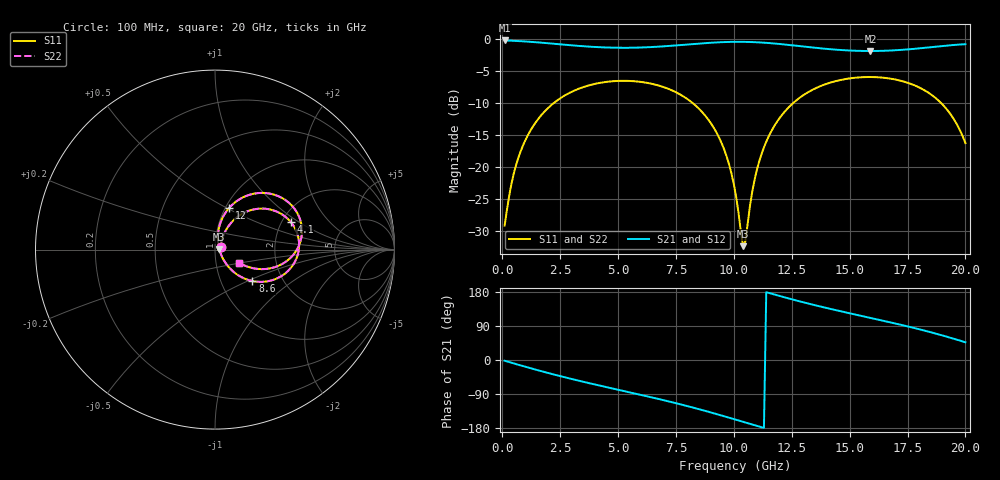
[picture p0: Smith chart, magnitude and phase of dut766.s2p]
! Touchstone file exported from HFSS 2026.1.0
!  File:  C:/ffzhzh/LocalFiles/Ansys_Project_Files/temp_train_TSV_RDL_766_1783208302_51560.aedt
!  Generated:  07:48:22 AM Jul  5, 2026
!  Design:  TSV_RDL
!  Project:  temp_train_TSV_RDL_766_1783208302_51560
! Variables:
!  h_bsmrdl = 2.07um
!  h_ox = 20um
!  h_rdl = 5um
!  h_sub = 98.83um
!  h_tmrdl = 4.47um
!  h_tsv = 98.83um
!  h_via = 3um
!  l_bsmrdl = 405.25um
!  l_sub = 4597.77um
!  l_tmrdl = 717.74um
!  m_sub = 200um
!  pitch = 44.09um
!  r_tsv = 14.56um
!  s_tmrdl = 10um
!  w_bsmrdl = 26.93um
!  w_sub = 500um
!  w_tmrdl = 10.09um
!  x_tsv_center1 = 722.785um
!  x_tsv_center2 = 1154.965um
!  x_tsv_center3 = 1882.795um
!  x_tsv_center4 = 2314.975um
!  x_tsv_center5 = 3042.805um
!  x_tsv_center6 = 3474.985um
# GHz S MA R 50.000000
! Terminal data exported
! Port[1] = TM_RDL1_1_T1
! Port[2] = TM_RDL5_1_T1
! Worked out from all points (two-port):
!   200 points, 100 MHz to 20 GHz, reference 50 ohm
!   highest |S21| = -0.27 dB at 100 MHz (marker M1); lowest = -1.9 dB at 15.9 GHz (marker M2)
!   |S21| within 3 dB of the highest: start of sweep to end of sweep
!   lowest |S11| = -32.3 dB at 10.4 GHz (marker M3), VSWR 1.05, Z = 52.5 + j0.144 ohm
!   |S11| at or under -10 dB: start of sweep to 2.232 GHz; 8.213 GHz to 12.57 GHz (4.358 GHz wide, 41.9 % of centre); 18.94 GHz to end of sweep
!   |S22| runs from -32.2 to -6.0 dB; largest |S21 - S12| = 1.7e-14
!   S11 on the Smith chart (normalised r, x): 100 MHz: 1.06, +0.03; 4.1 GHz: 2.22, +0.87; 8.6 GHz: 1.41, -0.53; 12 GHz: 1.04, +0.51; 20 GHz: 1.30, -0.20
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0.1  0.03493 27.9  0.9695 -1.9  0.9695 -1.9  0.03493 27.9
! Gamma 0 0 0 0
! Port Impedance 50 0 50 0
0.5  0.08954 59.1  0.9634 -9.1  0.9634 -9.1  0.08954 59.1
1.2  0.1903 58.0  0.9469 -21.3  0.9469 -21.3  0.1903 58.0
2.2  0.3129 45.8  0.9148 -37.9  0.9148 -37.9  0.3129 45.8
3.5  0.4199 28.2  0.8738 -57.5  0.8738 -57.5  0.4198 28.2
4.1  0.4487 20.3  0.8605 -66.1  0.8605 -66.1  0.4486 20.3
5.5  0.4689 2.2  0.8505 -85.3  0.8505 -85.3  0.4688 2.2
6.8  0.4292 -15.0  0.8685 -103.6  0.8685 -103.6  0.4292 -15.0
8.6  0.2719 -40.1  0.9197 -131.5  0.9197 -131.5  0.2719 -40.0
9.5  0.1493 -50.9  0.9406 -147.0  0.9406 -147.0  0.1493 -50.8
10.1  0.05842 -46.5  0.9463 -157.7  0.9463 -157.7  0.05852 -46.1
10.4  0.02417 3.3  0.9459 -163.1  0.9459 -163.1  0.02453 3.6
10.5  0.02645 38.8  0.9452 -164.9  0.9452 -164.9  0.02683 38.6
10.8  0.06511 76.0  0.9419 -170.4  0.9419 -170.4  0.06532 75.6
11.1  0.1114 79.8  0.9363 -175.7  0.9363 -175.7  0.1116 79.6
12  0.2441 71.4  0.9091 168.6  0.9091 168.6  0.2442 71.3
13.4  0.4002 52.0  0.8541 146.1  0.8541 146.1  0.4003 52.0
15.9  0.503 19.8  0.8022 111.1  0.8022 111.1  0.503 19.8
16.7  0.4906 9.8  0.8082 100.2  0.8082 100.2  0.4906 9.7
18.7  0.3467 -16.4  0.866 70.0  0.866 70.0  0.3467 -16.4
19.4  0.2517 -25.0  0.8908 57.9  0.8908 57.9  0.2517 -25.1
20  0.1537 -28.6  0.9068 46.7  0.9068 46.7  0.1537 -28.7
